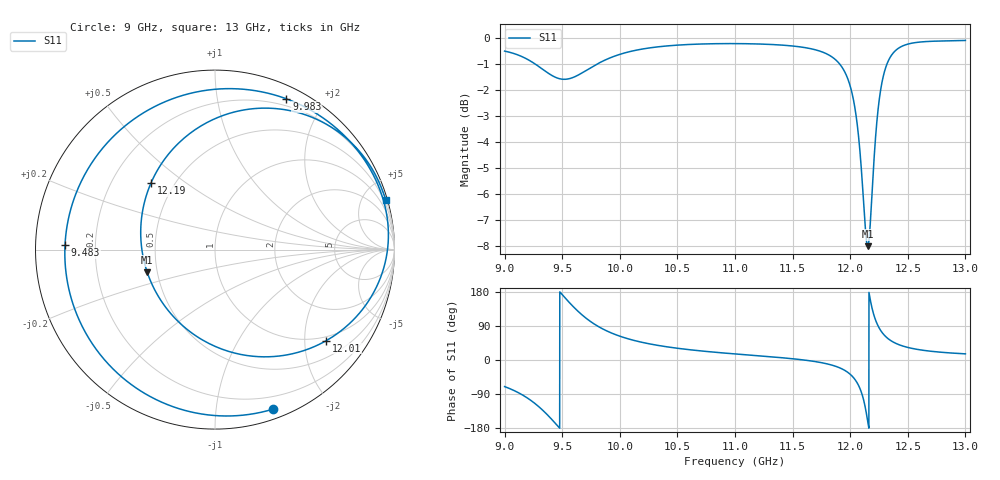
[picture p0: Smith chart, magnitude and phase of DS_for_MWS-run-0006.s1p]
! TOUCHSTONE file generated by CST DESIGN STUDIO
! Date and time: Wed Feb  5 13:35:20 2025
! Project name: C:\Work\MatlabApps\UnitCellOptimizationMatlab\CST\unitcell.cst
! Tree item: Tasks\Sweep1\SPara1\S-Parameters
! Header version: 2024
! Port assignment regex: !\s*Touchstone port\s*([0-9]+)\s*=\s*(CST MWS port|CST DES external port|CST DES block port)\s*(.+)\s* \(\"(.*)\"\)(\s*mode\s*([0-9]+))?.*
! Touchstone port assignment:
! Touchstone port 1 = CST DES external port 1 ("")
# GHz S MA R 50
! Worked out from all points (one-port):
!   4001 points, 9 GHz to 13 GHz, reference 50 ohm
!   lowest |S11| = -8.0 dB at 12.15 GHz (marker M1), VSWR 2.32, Z = 22 - j6.64 ohm
!   |S11| at or under -10 dB: nowhere
!   S11 on the Smith chart (normalised r, x): 9 GHz: 0.08, -1.42; 9.483 GHz: 0.09, +0.01; 9.983 GHz: 0.13, +1.57; 12.01 GHz: 0.89, -2.52; 12.19 GHz: 0.37, +0.38; 13 GHz: 0.22, +7.01
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9  0.9457 -70.2
9.155  0.9219 -92.2
9.266  0.8927 -115.4
9.391  0.8539 -150.8
9.483  0.836 178.3
9.5  0.8349 172.5
9.608  0.8438 137.1
9.707  0.8677 110.3
9.822  0.8975 86.9
9.983  0.9294 64.7
10  0.9321 62.8
10.215  0.9559 45.2
10.5  0.971 31.0
11  0.9776 16.0
11.5  0.9673 3.3
11.843  0.9212 -13.7
12  0.8098 -37.7
12.006  0.8009 -39.3
12.05  0.7131 -55.2
12.092  0.5791 -80.9
12.122  0.4622 -112.4
12.152  0.3981 -161.4
12.192  0.5146 133.9
12.23  0.6858 97.9
12.274  0.8191 73.8
12.365  0.9328 48.8
12.5  0.9754 33.2
13  0.9914 16.2
